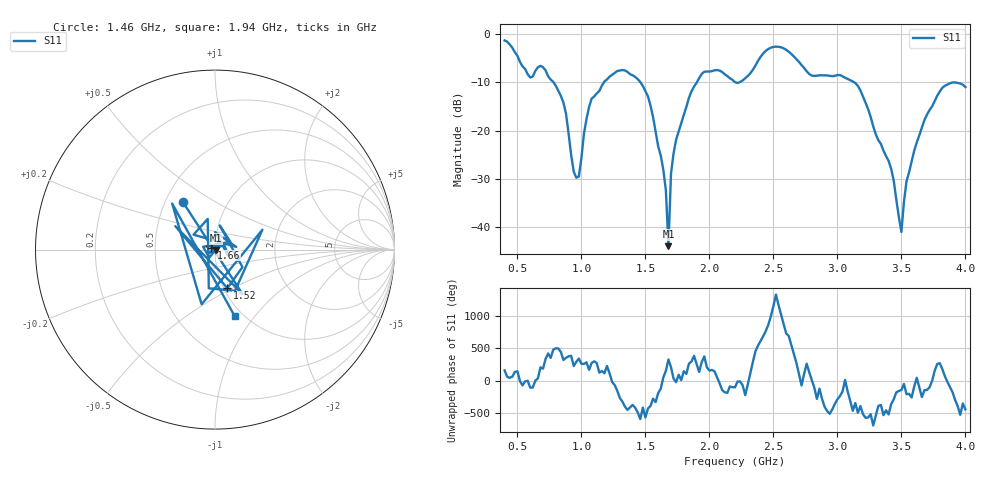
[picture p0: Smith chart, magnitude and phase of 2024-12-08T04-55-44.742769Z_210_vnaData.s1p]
!Created with skrf (http://scikit-rf.org).
# Hz S RI R 50.0
!freq ReS11 ImS11
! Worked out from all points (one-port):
!   181 points, 400 MHz to 4 GHz, reference 50 ohm
!   lowest |S11| = -44.1 dB at 1.68 GHz (marker M1), VSWR 1.01, Z = 50.5 - j0.348 ohm
!   |S11| at or under -10 dB: 782.9 MHz to 1.176 GHz (392.7 MHz wide, 40.1 % of centre); 1.462 GHz to 1.902 GHz (439.6 MHz wide, 26.1 % of centre); 3.132 GHz to 3.916 GHz (783 MHz wide, 22.2 % of centre) (the widest 3 of 5)
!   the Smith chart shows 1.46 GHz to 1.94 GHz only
!   S11 on the Smith chart (normalised r, x): 1.46 GHz: 0.62, +0.36; 1.52 GHz: 1.04, -0.47; 1.66 GHz: 0.96, +0.02; 1.94 GHz: 0.91, -0.80
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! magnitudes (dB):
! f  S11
! 400 MHz  -1.3
! 600 MHz  -9.0
! 700 MHz  -6.8
! 860 MHz  -14.2
! 940 MHz  -28.5
! 980 MHz  -29.6
! 1.02 GHz  -20.6
! 1.08 GHz  -13.4
! 1.3 GHz  -7.5
! 1.46 GHz  -9.9
! 1.52 GHz  -12.9
! 1.66 GHz  -32.5
! 1.68 GHz  -44.1
! 1.7 GHz  -29.0
! 1.76 GHz  -20.2
! 1.94 GHz  -8.2
! 2.2 GHz  -9.9
! 2.48 GHz  -2.8
! 2.66 GHz  -4.6
! 2.8 GHz  -8.6
! 3.1 GHz  -9.5
! 3.18 GHz  -11.7
! 3.4 GHz  -26.3
! 3.5 GHz  -41.1
! 3.56 GHz  -28.7
! 3.68 GHz  -17.8
! 3.8 GHz  -11.9
! 4 GHz  -11.0
